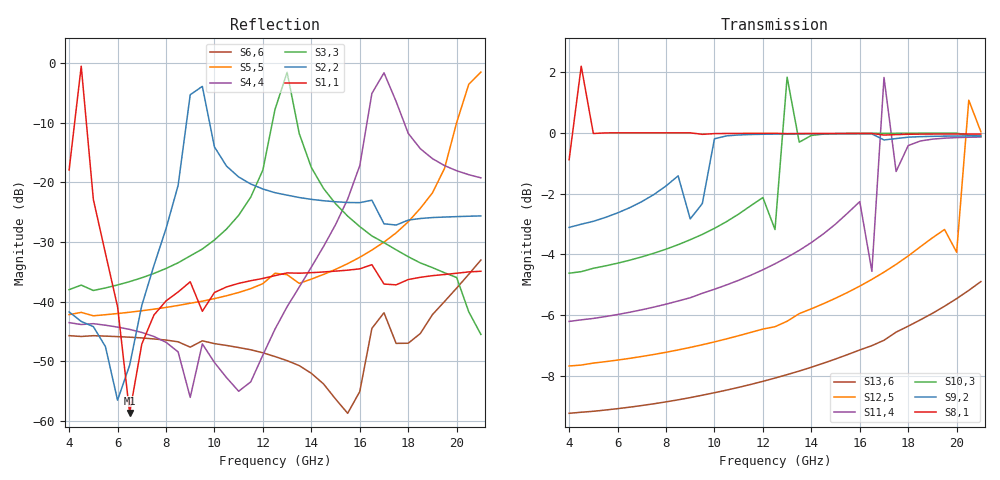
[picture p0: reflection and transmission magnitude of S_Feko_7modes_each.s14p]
! S-parameter export from POSTFEKO
! Filename: circular_2wg_7modes
! Creation date: 2019-12-29 17:07:23
# Hz S MA R  5.0000000E+01
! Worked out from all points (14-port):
!   35 points, 4 GHz to 21 GHz, reference 50 ohm
!   strongest paths, dB at 4 GHz, 8 GHz, 12.5 GHz, 17 GHz, 21 GHz:
!     S8,1: -0.9, 0.0, 0.0, -0.1, 0.0
!     S9,2: -3.1, -1.8, 0.0, -0.2, -0.1
!     S10,3: -4.6, -3.8, -3.2, 0.0, -0.1
!     S11,4: -6.2, -5.6, -4.3, 1.8, -0.1
!     S12,5: -7.7, -7.2, -6.4, -4.6, 0.0
!     S13,6: -9.2, -8.9, -8.1, -6.8, -4.9
!   lowest |S11| = -58.7 dB at 6.5 GHz (marker M1), VSWR 1.00, Z = 50 + j0.111 ohm
!   |S11| at or under -10 dB: start of sweep to 4.227 GHz; 4.713 GHz to end of sweep
